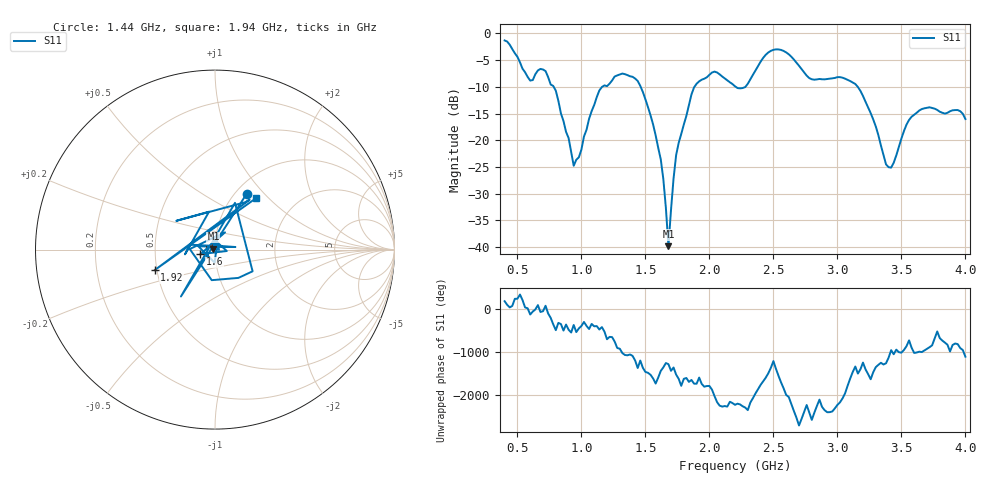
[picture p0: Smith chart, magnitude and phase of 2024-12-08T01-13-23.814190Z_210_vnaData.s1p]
!Created with skrf (http://scikit-rf.org).
# Hz S RI R 50.0
!freq ReS11 ImS11
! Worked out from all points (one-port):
!   181 points, 400 MHz to 4 GHz, reference 50 ohm
!   lowest |S11| = -39.8 dB at 1.68 GHz (marker M1), VSWR 1.02, Z = 49.1 + j0.501 ohm
!   |S11| at or under -10 dB: 783.7 MHz to 1.163 GHz (378.8 MHz wide, 38.9 % of centre); 1.463 GHz to 1.883 GHz (420.1 MHz wide, 25.1 % of centre); 3.159 GHz to end of sweep (the widest 3 of 4)
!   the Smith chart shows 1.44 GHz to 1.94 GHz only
!   S11 on the Smith chart (normalised r, x): 1.44 GHz: 1.12, +0.81; 1.6 GHz: 0.85, -0.04; 1.92 GHz: 0.49, -0.13; 1.94 GHz: 1.28, +0.85
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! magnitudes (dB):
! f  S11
! 400 MHz  -1.3
! 600 MHz  -8.8
! 720 MHz  -7.1
! 860 MHz  -16.4
! 940 MHz  -24.8
! 1.14 GHz  -10.7
! 1.3 GHz  -7.7
! 1.44 GHz  -8.9
! 1.6 GHz  -21.4
! 1.64 GHz  -27.3
! 1.68 GHz  -39.8
! 1.72 GHz  -27.1
! 1.76 GHz  -20.5
! 1.86 GHz  -11.4
! 1.92 GHz  -9.0
! 1.94 GHz  -8.7
! 2.04 GHz  -7.2
! 2.2 GHz  -9.9
! 2.28 GHz  -10.0
! 2.48 GHz  -3.3
! 2.66 GHz  -4.9
! 2.8 GHz  -8.6
! 3.1 GHz  -8.9
! 3.24 GHz  -13.8
! 3.4 GHz  -25.0
! 3.56 GHz  -16.2
! 3.72 GHz  -13.8
! 4 GHz  -16.0
